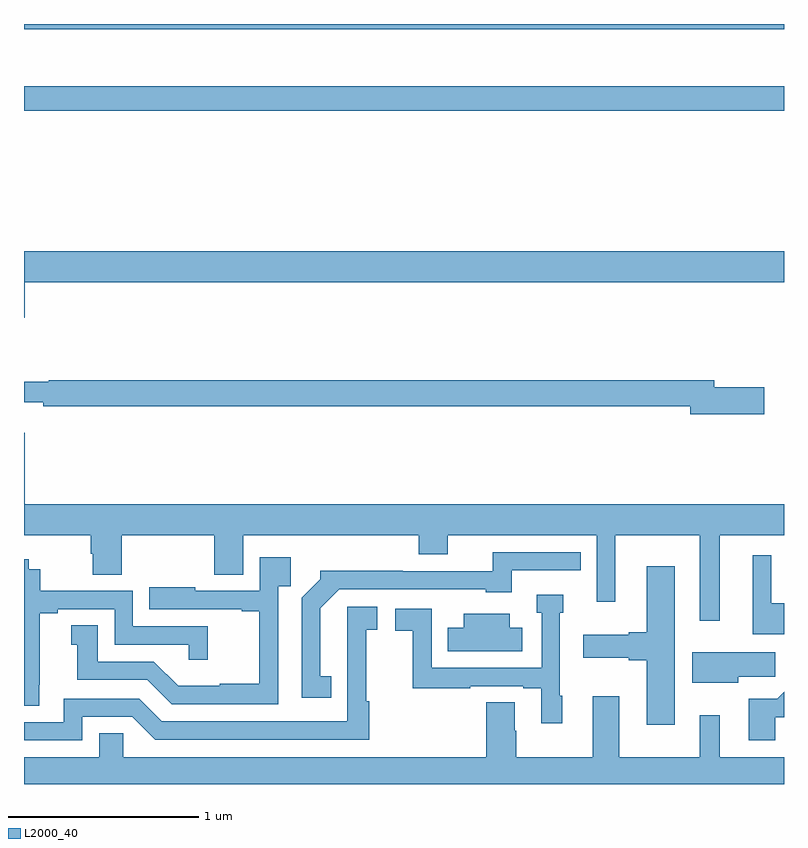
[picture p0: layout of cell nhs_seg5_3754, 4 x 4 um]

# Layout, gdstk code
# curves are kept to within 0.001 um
import gdstk
lib = gdstk.Library(unit=1e-6, precision=1e-09)
def R(c, l, rs):  # rectangles x0, y0, x1, y1
    for r in rs: c.add(gdstk.rectangle(r[:2], r[2:], *l))
def P(c, l, *ps):  # polygons
    for p in ps: c.add(gdstk.Polygon(p, *l))
L2000_40 = (2000, 40)

nhs_seg5_3754 = lib.new_cell('nhs_seg5_3754')
R(nhs_seg5_3754, L2000_40, [(333,844.342,337,844.471), (333,844.772,337,844.799)])
P(nhs_seg5_3754, L2000_40, [(333.004,843.44),(337,843.44),(337,843.604),(333,843.604),(333,843.252),(333.004,843.252)],
  [(336.895,842.888),(336.634,842.888),(336.634,842.924),(333.13,842.924),(333.13,842.917),(333,842.917),(333,842.807),(333.1,842.807),(333.1,842.788),(336.506,842.788),(336.506,842.746),(336.895,842.746)],
  [(336.661,842.108),(337,842.108),(337,842.272),(333.004,842.272),(333.004,842.647),(333,842.647),(333,842.108),(333.35,842.108),(333.35,842.01),(333.362,842.01),(333.362,841.9),(333.515,841.9),(333.515,842.108),(334.001,842.108),(334.001,841.9),(334.153,841.9),(334.153,842.108),(335.078,842.108),(335.078,842.009),(335.23,842.009),(335.23,842.108),(336.015,842.108),(336.015,841.758),(336.112,841.758),(336.112,842.108),(336.557,842.108),(336.557,841.659),(336.661,841.659)],
  [(334.616,841.367),(334.558,841.367),(334.558,841.723),(334.659,841.824),(335.43,841.824),(335.43,841.808),(335.566,841.808),(335.566,841.923),(335.93,841.923),(335.93,842.019),(335.467,842.019),(335.467,841.92),(334.994,841.92),(334.994,841.922),(334.56,841.922),(334.56,841.877),(334.461,841.778),(334.461,841.254),(334.616,841.254)],
  [(337,841.75),(336.934,841.75),(336.934,842.002),(336.836,842.002),(336.836,841.586),(337,841.586)],
  [(334.338,841.841),(334.403,841.841),(334.403,841.993),(334.242,841.993),(334.242,841.815),(333.901,841.815),(333.901,841.834),(333.658,841.834),(333.658,841.719),(334.145,841.719),(334.145,841.707),(334.237,841.707),(334.237,841.327),(334.031,841.327),(334.031,841.315),(333.812,841.315),(333.684,841.443),(333.388,841.443),(333.388,841.634),(333.248,841.634),(333.248,841.531),(333.281,841.531),(333.281,841.347),(333.648,841.347),(333.777,841.218),(334.338,841.218)],
  [(333.08,841.321),(333.082,841.321),(333.082,841.699),(333.178,841.699),(333.178,841.719),(333.477,841.719),(333.477,841.533),(333.867,841.533),(333.867,841.452),(333.968,841.452),(333.968,841.629),(333.573,841.629),(333.573,841.815),(333.086,841.815),(333.086,841.929),(333.024,841.929),(333.024,841.981),(333,841.981),(333,841.21),(333.08,841.21)],
  [(336.424,841.945),(336.278,841.945),(336.278,841.598),(336.182,841.598),(336.182,841.585),(335.943,841.585),(335.943,841.463),(336.182,841.463),(336.182,841.451),(336.278,841.451),(336.278,841.11),(336.424,841.11)],
  [(335.833,841.263),(335.82,841.263),(335.82,841.701),(335.839,841.701),(335.839,841.795),(335.699,841.795),(335.699,841.701),(335.724,841.701),(335.724,841.41),(335.145,841.41),(335.145,841.722),(334.953,841.722),(334.953,841.606),(335.047,841.606),(335.047,841.302),(335.348,841.302),(335.348,841.314),(335.627,841.314),(335.627,841.302),(335.723,841.302),(335.723,841.119),(335.833,841.119)],
  [(333.306,841.152),(333.57,841.152),(333.69,841.032),(334.817,841.032),(334.817,841.235),(334.8,841.235),(334.8,841.611),(334.858,841.611),(334.858,841.732),(334.7,841.732),(334.701,841.128),(333.726,841.128),(333.606,841.248),(333.21,841.248),(333.21,841.125),(333,841.125),(333,841.029),(333.306,841.029)],
  [(335.623,841.621),(335.557,841.621),(335.557,841.696),(335.315,841.696),(335.315,841.621),(335.23,841.621),(335.23,841.499),(335.623,841.499)],
  [(336.76,841.363),(336.955,841.363),(336.955,841.492),(336.516,841.492),(336.516,841.331),(336.76,841.331)],
  [(336.955,841.151),(337,841.151),(337,841.285),(336.964,841.249),(336.815,841.249),(336.815,841.029),(336.955,841.029)],
  [(337,840.94),(336.661,840.94),(336.661,841.162),(336.557,841.162),(336.557,840.94),(336.133,840.94),(336.133,841.261),(335.993,841.261),(335.993,840.94),(335.592,840.94),(335.592,841.079),(335.584,841.079),(335.584,841.229),(335.432,841.229),(335.432,840.94),(333.522,840.94),(333.522,841.067),(333.395,841.067),(333.395,840.94),(333,840.94),(333,840.799),(337,840.799)])

lib.write_gds('nhs_seg5_3754.gds')
